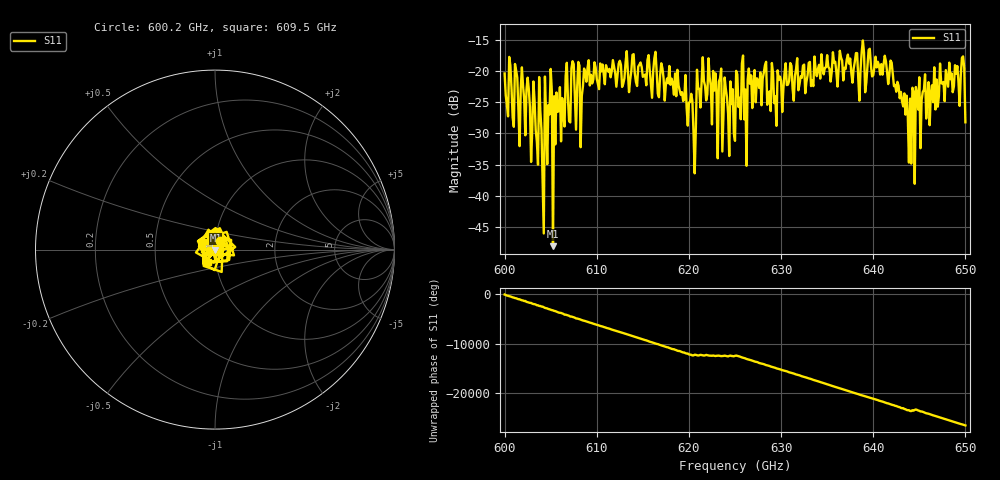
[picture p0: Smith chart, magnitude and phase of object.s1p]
!Created with skrf (http://scikit-rf.org).
# GHz S MA R 50.0
!freq magS11 angS11
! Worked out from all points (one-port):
!   401 points, 600 GHz to 650 GHz, reference 50 ohm
!   lowest |S11| = -48.1 dB at 605.2 GHz (marker M1), VSWR 1.01, Z = 50.3 - j0.285 ohm
!   |S11| at or under -10 dB: start of sweep to end of sweep
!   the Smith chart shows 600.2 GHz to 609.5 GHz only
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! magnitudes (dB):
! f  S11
! 600 GHz  -20.4
! 602.5 GHz  -21.1
! 604.4 GHz  -20.9
! 604.6 GHz  -34.9
! 605.2 GHz  -48.1
! 605.5 GHz  -31.8
! 605.6 GHz  -23.4
! 606.2 GHz  -24.3
! 607.4 GHz  -18.4
! 608.5 GHz  -22.4
! 608.9 GHz  -21.7
! 612.5 GHz  -18.3
! 618.8 GHz  -19.8
! 620.2 GHz  -23.6
! 620.5 GHz  -29.9
! 621.1 GHz  -22.8
! 621.6 GHz  -21.6
! 623.4 GHz  -21.2
! 625 GHz  -31.2
! 628.1 GHz  -20.3
! 629.5 GHz  -28.8
! 631.2 GHz  -22.8
! 637.5 GHz  -18.0
! 641.1 GHz  -18.9
! 643.8 GHz  -27.2
! 648.1 GHz  -22.5
! 649.6 GHz  -17.9
! 650 GHz  -28.2
